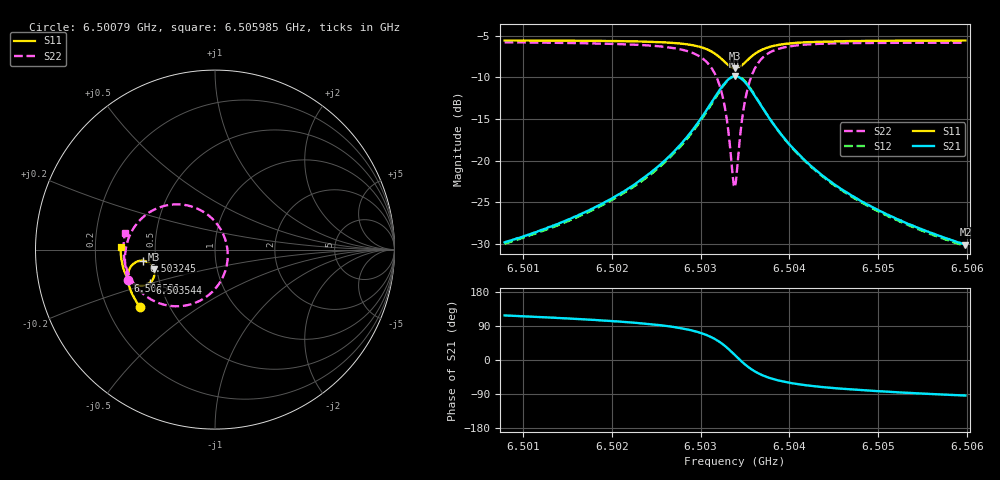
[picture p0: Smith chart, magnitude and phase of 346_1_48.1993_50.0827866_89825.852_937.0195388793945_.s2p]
#  HZ  S  RI  R  50.00
! Rohde & Schwarz Vector Network Analyzer
! Rohde-Schwarz,ZNB20-2Port,1311601062101988,3.16
! Created: UTC 3/20/2024, 11:51:35 AM
! freq[Hz]  re:S11  im:S11  re:S21  im:S21  re:S12  im:S12  re:S22  im:S22
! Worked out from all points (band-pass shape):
!   401 points, 6.50079 GHz to 6.505985 GHz, reference 50 ohm
!   highest |S21| = -9.88 dB at 6.503388 GHz (marker M1); lowest = -30.1 dB at 6.505985 GHz (marker M2)
!   |S21| within 3 dB of the highest: 6.503131 GHz to 6.503651 GHz (519.9 kHz wide, 0.00799 % of centre)
!   lowest |S11| = -8.9 dB at 6.503388 GHz (marker M3), VSWR 2.11, Z = 24.1 - j6.01 ohm
!   |S11| at or under -10 dB: nowhere
!   |S22| runs from -23.2 to -5.8 dB; largest |S21 - S12| = 0.011
!   S11 on the Smith chart (normalised r, x): 6.50079 GHz: 0.34, -0.30; 6.502531 GHz: 0.33, -0.15; 6.503245 GHz: 0.43, -0.06; 6.503544 GHz: 0.44, -0.20; 6.505985 GHz: 0.31, +0.01
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6.5007904e9  -0.4189 -0.3189  -0.015 0.0287  -0.0135 0.0289  -0.4851 -0.1685
6.5016605e9  -0.4573 -0.256  -0.0145 0.0459  -0.0122 0.0456  -0.5009 -0.0786
6.502154e9  -0.4752 -0.2131  -0.0118 0.0654  -0.00887 0.0643  -0.4991 -0.0108
6.5025306e9  -0.4848 -0.1725  -0.00343 0.0932  0.000122 0.0909  -0.4818 0.0618
6.5027903e9  -0.4848 -0.136  0.0146 0.1271  0.0184 0.1233  -0.4437 0.1336
6.5029721e9  -0.474 -0.1029  0.0482 0.1626  0.0512 0.1572  -0.378 0.1991
6.503141e9  -0.4407 -0.0698  0.1232 0.196  0.1238 0.1895  -0.2407 0.2509
6.5031929e9  -0.4221 -0.0631  0.1612 0.198  0.1612 0.1919  -0.1739 0.2497
6.5032448e9  -0.3993 -0.062  0.2064 0.189  0.2057 0.1838  -0.0966 0.2274
6.5032968e9  -0.3741 -0.0697  0.2538 0.1628  0.2539 0.1586  -0.017 0.174
6.5033617e9  -0.3474 -0.0947  0.302 0.1021  0.3039 0.0982  0.0568 0.0579
6.5033877e9  -0.3409 -0.1087  0.3129 0.0709  0.3155 0.0664  0.0694 3.47e-05
6.5034137e9  -0.3375 -0.1238  0.3174 0.0382  0.3204 0.0325  0.0697 -0.0598
6.5034786e9  -0.3434 -0.1602  0.3018 -0.0388  0.3041 -0.0475  0.02 -0.194
6.5035435e9  -0.3637 -0.1861  0.2606 -0.0931  0.2604 -0.1034  -0.0725 -0.2786
6.5036474e9  -0.4024 -0.2017  0.1878 -0.1303  0.1832 -0.1394  -0.22 -0.3158
6.5038162e9  -0.448 -0.1922  0.1071 -0.1282  0.1007 -0.1334  -0.3662 -0.2718
6.503998e9  -0.4753 -0.1709  0.0632 -0.1091  0.0573 -0.1113  -0.4379 -0.2082
6.5042578e9  -0.4959 -0.1408  0.0334 -0.0853  0.0289 -0.086  -0.4812 -0.1368
6.5046993e9  -0.513 -0.0958  0.0133 -0.0606  0.0102 -0.0603  -0.5048 -0.0542
6.5051278e9  -0.5211 -0.057  0.00503 -0.0467  0.00277 -0.046  -0.5097 0.00357
6.5059849e9  -0.5258 0.015  -0.00207 -0.0314  -0.00327 -0.0306  -0.5014 0.0924
